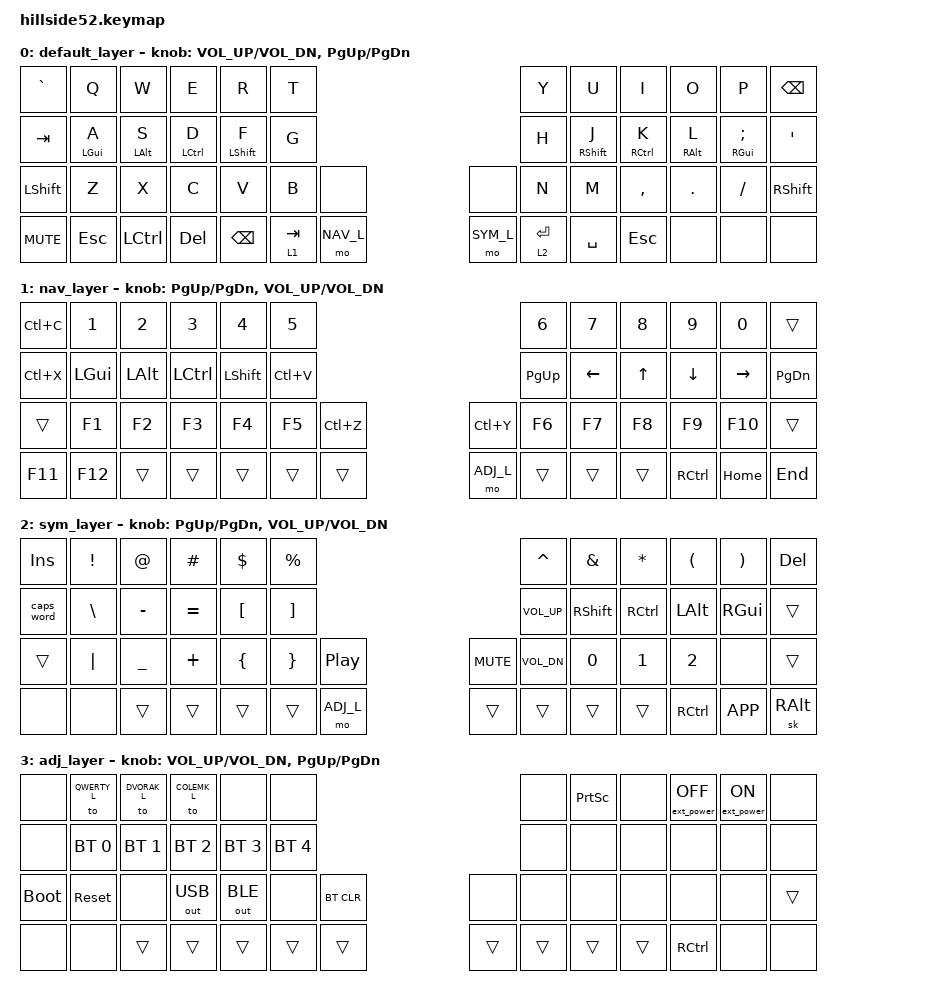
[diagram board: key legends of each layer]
/*
 * Copyright (c) 2021-2022 The ZMK Contributors
 *
 * SPDX-License-Identifier: MIT
 */

#include <behaviors.dtsi>
#include <dt-bindings/zmk/bt.h>
#include <dt-bindings/zmk/ext_power.h>
#include <dt-bindings/zmk/keys.h>
#include <dt-bindings/zmk/outputs.h>

#define QWERTY_L 0
#define DVORAK_L 1
#define COLEMK_L 2
#define NAV_L    3
#define SYM_L    4
#define ADJ_L    5
#define Undo   LC(Z)
#define Cut    LC(X)
#define Copy   LC(C)
#define Paste  LC(V)
#define Redo   LC(Y)

/ {
    behaviors {
        hm: homerow_mods {
            compatible = "zmk,behavior-hold-tap";
            label = "HOMEROW_MODS";
            #binding-cells = <2>;
            tapping-term-ms = <200>;
            quick_tap_ms = <0>;
            flavor = "tap-preferred";
            bindings = <&kp>, <&kp>;
        };

        hs: homerow_shift {
            compatible = "zmk,behavior-hold-tap";
            label = "HOMEROW_SHIFT";
            #binding-cells = <2>;
            tapping-term-ms = <150>;
            quick_tap_ms = <0>;
            flavor = "tap-preferred";
            bindings = <&kp>, <&kp>;
        };
    };
};

/ {
    keymap {
        compatible = "zmk,keymap";

        default_layer {
            /* QWERTY */

            bindings = <
&kp GRAVE   &kp Q       &kp W       &kp E        &kp R        &kp T                                                        &kp Y      &kp U        &kp I        &kp O       &kp P          &kp BSPC
&kp TAB     &hm LGUI A  &hm LALT S  &hm LCTRL D  &hm LSHFT F  &kp G                                                        &kp H      &hm RSHFT J  &hm RCTRL K  &hm RALT L  &hm RGUI SEMI  &kp SQT
&kp LSHFT   &kp Z       &kp X       &kp C        &kp V        &kp B          &none                            &none        &kp N      &kp M        &kp COMMA    &kp DOT     &kp SLASH      &kp RSHFT
&kp C_MUTE  &kp ESC     &kp LCTRL                &kp DELETE   &kp BACKSPACE  &lt 1 TAB  &mo NAV_L  &mo SYM_L  &lt 2 ENTER  &kp SPACE  &kp ESCAPE                &none       &none          &none
            >;

            sensor-bindings = <&inc_dec_kp C_VOL_UP C_VOL_DN &inc_dec_kp PG_UP PG_DN>;
        };

        nav_layer {
            /* NAV
 * -------------------------------------------------------------------------------------------------------------------------------------
 * | Copy  |   1   |   2   |   3   |   4   |   5   |-----------------------------------|   6   |   7   |   8   |   9   |   0   | BSPC  |
 * | Cut   |  GUI  |  Alt  | Ctrl  | Shift | Paste |-----------------------------------| PG UP |  Left |  Up   |  Down | Right | PG DN |
 * | Shift |  F1   |  F2   |  F3   |  F4   |  F5   |  UnDo |-------------------| ReDo  |  F6   |  F7   |  F8   |  F9   |  F10  | Shift |
 * | F11   |  F12  |       |-------|       |       |       |       |---| ADJ_L |       |       |       |-------| CTRL  | HOME  |  END  |
 */

            bindings = <
&kp Copy  &kp N1    &kp N2    &kp N3     &kp N4     &kp N5                                            &kp N6     &kp N7    &kp N8  &kp N9     &kp N0     &trans
&kp Cut   &kp LGUI  &kp LALT  &kp LCTRL  &kp LSHFT  &kp Paste                                         &kp PG_UP  &kp LEFT  &kp UP  &kp DOWN   &kp RIGHT  &kp PG_DN
&trans    &kp F1    &kp F2    &kp F3     &kp F4     &kp F5     &kp Undo                     &kp Redo  &kp F6     &kp F7    &kp F8  &kp F9     &kp F10    &trans
&kp F11   &kp F12   &trans               &trans     &trans     &trans    &trans  &mo ADJ_L  &trans    &trans     &trans            &kp RCTRL  &kp HOME   &kp END
            >;

            sensor-bindings = <&inc_dec_kp PG_UP PG_DN &inc_dec_kp C_VOL_UP C_VOL_DN>;
        };

        sym_layer {
            /* SYM
 * -------------------------------------------------------------------------------------------------------------------------------------
 * | INS   |   !   |   @   |   #   |   $   |   %   |-----------------------------------|   ^   |   &   |   *   |   (   |   )   | DELETE|
 * | CAPS  |   \   |   -   |   =   |   [   |   ]   |-----------------------------------| Vol+  | Shift | Ctrl  | Alt   | Gui   | ENTER |
 * | Shift |   |   |   _   |   +   |   {   |   }   | Play  |-------------------| Mute  | Vol-  |  N0   |  N1   |  N2   |       | SHIFT |
 * |       |       |       |-------|       |       |       |  ADJ_L |---|      |       |       |       |-------| CTRL  | MENU  |SkAltGr|
 */

            bindings = <
&kp INS     &kp EXCL  &kp AT     &kp HASH   &kp DOLLAR  &kp PERCENT                                           &kp CARET     &kp AMPS   &kp ASTRK  &kp LPAR   &kp RPAR   &kp DEL
&caps_word  &kp BSLH  &kp MINUS  &kp EQUAL  &kp LBKT    &kp RBKT                                              &kp C_VOL_UP  &kp RSHFT  &kp RCTRL  &kp LALT   &kp RGUI   &trans
&trans      &kp PIPE  &kp UNDER  &kp PLUS   &kp LBRC    &kp RBRC     &kp C_PP                     &kp C_MUTE  &kp C_VOL_DN  &kp N0     &kp N1     &kp N2     &none      &trans
&none       &none     &trans                &trans      &trans       &trans    &mo ADJ_L  &trans  &trans      &trans        &trans                &kp RCTRL  &kp K_APP  &sk RALT
            >;

            sensor-bindings = <&inc_dec_kp PG_UP PG_DN &inc_dec_kp C_VOL_UP C_VOL_DN>;
        };

        adj_layer {
            /* ADJUST
 * -------------------------------------------------------------------------------------------------------------------------------------
 * |       | QWERTY| DVORAK| COLEMK|       |       |-----------------------------------|       |Prt Scr|       | EP_OFF| EP_ON |       |
 * |       | BT 0  | BT 1  | BT 2  | BT 3  | BT 4  |-----------------------------------|       |       |       |       |       |       |
 * | BOOTL | RESET |       |OUT_USB|OUT_BLE|       |BT CLR |-------------------|       |       |       |       |       |       | SHIFT |
 * ----------------|       |-------|       |       |       |       |---|       |       |       |       |-------| CTRL  |----------------
 */

            bindings = <
&none        &to QWERTY_L  &to DVORAK_L  &to COLEMK_L  &none         &none                                             &none   &kp PRINTSCREEN  &none  &ext_power EP_OFF  &ext_power EP_ON  &none
&none        &bt BT_SEL 0  &bt BT_SEL 1  &bt BT_SEL 2  &bt BT_SEL 3  &bt BT_SEL 4                                      &none   &none            &none  &none              &none             &none
&bootloader  &sys_reset    &none         &out OUT_USB  &out OUT_BLE  &none         &bt BT_CLR                  &none   &none   &none            &none  &none              &none             &trans
&none        &none         &trans                      &trans        &trans        &trans      &trans  &trans  &trans  &trans  &trans                  &kp RCTRL          &none             &none
            >;

            sensor-bindings = <&inc_dec_kp C_VOL_UP C_VOL_DN &inc_dec_kp PG_UP PG_DN>;
        };
    };
};
